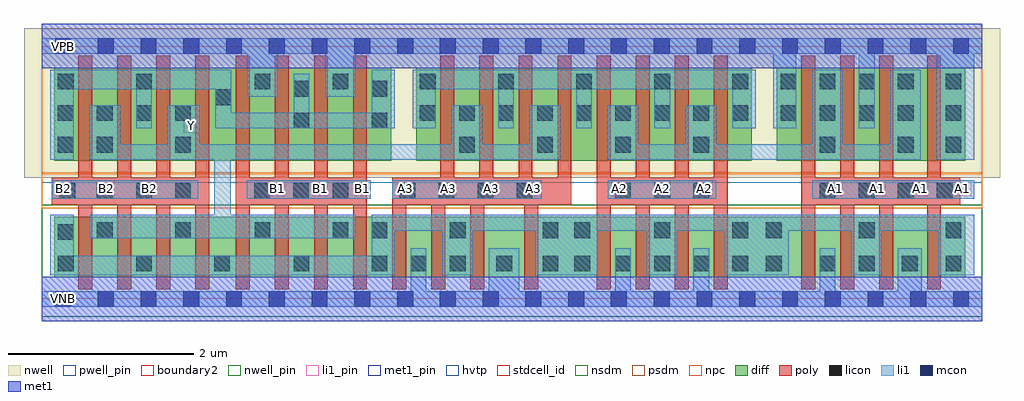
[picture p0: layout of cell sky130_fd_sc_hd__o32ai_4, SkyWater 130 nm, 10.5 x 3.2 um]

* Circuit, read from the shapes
.subckt sky130_fd_sc_hd__o32ai_4 A1 A2 A3 B1 B2 VGND VNB VPB VPWR Y
XM1 Y B2 n1 VNB sky130_fd_pr__nfet_01v8 w=0.65 l=0.15 m=4
XM2 Y B1 n1 VNB sky130_fd_pr__nfet_01v8 w=0.65 l=0.15 m=4
XM3 VGND A3 n1 VNB sky130_fd_pr__nfet_01v8 w=0.65 l=0.15 m=4
XM4 VGND A2 n1 VNB sky130_fd_pr__nfet_01v8 w=0.65 l=0.15 m=4
XM5 VGND A1 n1 VNB sky130_fd_pr__nfet_01v8 w=0.65 l=0.15 m=4
XM6 Y B2 n2 VPB sky130_fd_pr__pfet_01v8_hvt w=1 l=0.15 m=4
XM7 VPWR B1 n2 VPB sky130_fd_pr__pfet_01v8_hvt w=1 l=0.15 m=4
XM8 Y A3 n3 VPB sky130_fd_pr__pfet_01v8_hvt w=1 l=0.15 m=4
XM9 n4 A2 n3 VPB sky130_fd_pr__pfet_01v8_hvt w=1 l=0.15 m=4
XM10 n4 A1 VPWR VPB sky130_fd_pr__pfet_01v8_hvt w=1 l=0.15 m=4
.ends

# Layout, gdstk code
import gdstk
lib = gdstk.Library(unit=1e-6, precision=1e-09)
def R(c, l, rs):  # rectangles x0, y0, x1, y1
    for r in rs: c.add(gdstk.rectangle(r[:2], r[2:], *l))
def A(c, l, x, y, w, h, nx, ny, dx, dy):  # array of equal rectangles
    R(c, l, [(x+i*dx, y+j*dy, x+i*dx+w, y+j*dy+h) for i in range(nx) for j in range(ny)])
def P(c, l, *ps):  # polygons
    for p in ps: c.add(gdstk.Polygon(p, *l))
nwell_pin = (64, 16)
nwell = (64, 20)
diff = (65, 20)
poly = (66, 20)
licon = (66, 44)
li1_pin = (67, 16)
li1 = (67, 20)
mcon = (67, 44)
met1_pin = (68, 16)
met1 = (68, 20)
hvtp = (78, 44)
stdcell_id = (81, 4)
nsdm = (93, 44)
psdm = (94, 20)
npc = (95, 20)
pwell_pin = (122, 16)
boundary2 = (236, 0)

sky130_fd_sc_hd__o32ai_4 = lib.new_cell('sky130_fd_sc_hd__o32ai_4')
R(sky130_fd_sc_hd__o32ai_4, nwell_pin, [(0.15,2.635,0.32,2.805)])
R(sky130_fd_sc_hd__o32ai_4, nwell, [(-0.19,1.305,10.31,2.91)])
R(sky130_fd_sc_hd__o32ai_4, diff, [(0.135,0.235,9.935,0.885), (0.135,1.485,3.76,2.485), (4.03,1.485,7.64,2.485), (7.91,1.485,9.935,2.485)])
P(sky130_fd_sc_hd__o32ai_4, poly, [(1.805,2.615),(1.655,2.615),(1.655,1.305),(1.385,1.305),(1.385,2.615),(1.235,2.615),(1.235,1.305),(0.965,1.305),(0.965,2.615),(0.815,2.615),(0.815,1.305),(0.545,1.305),(0.545,2.615),(0.395,2.615),(0.395,1.305),(0.11,1.305),(0.11,1.015),(0.395,1.015),(0.395,0.105),(0.545,0.105),(0.545,1.015),(0.815,1.015),(0.815,0.105),(0.965,0.105),(0.965,1.015),(1.235,1.015),(1.235,0.105),(1.385,0.105),(1.385,1.015),(1.655,1.015),(1.655,0.105),(1.805,0.105)],
  [(3.5,2.615),(3.35,2.615),(3.35,1.305),(3.08,1.305),(3.08,2.615),(2.93,2.615),(2.93,1.305),(2.66,1.305),(2.66,2.615),(2.51,2.615),(2.51,1.305),(2.24,1.305),(2.24,2.615),(2.09,2.615),(2.09,0.105),(2.24,0.105),(2.24,1.015),(2.51,1.015),(2.51,0.105),(2.66,0.105),(2.66,1.015),(2.93,1.015),(2.93,0.105),(3.08,0.105),(3.08,1.015),(3.35,1.015),(3.35,0.105),(3.5,0.105)],
  [(5.7,2.615),(5.55,2.615),(5.55,1.305),(5.28,1.305),(5.28,2.615),(5.13,2.615),(5.13,1.305),(4.86,1.305),(4.86,2.615),(4.71,2.615),(4.71,1.305),(4.44,1.305),(4.44,2.615),(4.29,2.615),(4.29,1.305),(3.77,1.305),(3.77,0.105),(3.92,0.105),(3.92,1.015),(4.19,1.015),(4.19,0.105),(4.34,0.105),(4.34,1.015),(4.61,1.015),(4.61,0.105),(4.76,0.105),(4.76,1.015),(5.19,1.015),(5.19,0.105),(5.34,0.105),(5.34,1.015),(5.7,1.015)],
  [(7.38,2.615),(7.23,2.615),(7.23,1.305),(6.96,1.305),(6.96,2.615),(6.81,2.615),(6.81,1.305),(6.54,1.305),(6.54,2.615),(6.39,2.615),(6.39,1.305),(6.12,1.305),(6.12,2.615),(5.97,2.615),(5.97,0.105),(6.12,0.105),(6.12,1.015),(6.39,1.015),(6.39,0.105),(6.54,0.105),(6.54,1.015),(6.81,1.015),(6.81,0.105),(6.96,0.105),(6.96,1.015),(7.23,1.015),(7.23,0.105),(7.38,0.105)],
  [(9.88,1.305),(9.675,1.305),(9.675,2.615),(9.525,2.615),(9.525,1.305),(9.16,1.305),(9.16,2.615),(9.01,2.615),(9.01,1.305),(8.74,1.305),(8.74,2.615),(8.59,2.615),(8.59,1.305),(8.32,1.305),(8.32,2.615),(8.17,2.615),(8.17,0.105),(8.32,0.105),(8.32,1.015),(8.59,1.015),(8.59,0.105),(8.74,0.105),(8.74,1.015),(9.01,1.015),(9.01,0.105),(9.16,0.105),(9.16,1.015),(9.525,1.015),(9.525,0.105),(9.675,0.105),(9.675,1.015),(9.88,1.015)])
A(sky130_fd_sc_hd__o32ai_4, licon, 0.175, 0.295, 0.17, 0.17, 3, 1, 0.84, 0)
A(sky130_fd_sc_hd__o32ai_4, licon, 3.55, 0.295, 0.17, 0.17, 3, 1, 0.42, 0)
A(sky130_fd_sc_hd__o32ai_4, licon, 6.17, 0.295, 0.17, 0.17, 4, 1, 0.42, 0)
A(sky130_fd_sc_hd__o32ai_4, licon, 0.595, 1.075, 0.17, 0.17, 3, 1, 0.42, 0)
A(sky130_fd_sc_hd__o32ai_4, licon, 3.85, 1.075, 0.17, 0.17, 4, 1, 0.42, 0)
A(sky130_fd_sc_hd__o32ai_4, licon, 6.17, 1.075, 0.17, 0.17, 3, 1, 0.42, 0)
A(sky130_fd_sc_hd__o32ai_4, licon, 8.37, 1.075, 0.17, 0.17, 4, 1, 0.42, 0)
A(sky130_fd_sc_hd__o32ai_4, licon, 4.49, 1.575, 0.17, 0.17, 4, 1, 0.84, 0)
A(sky130_fd_sc_hd__o32ai_4, licon, 9.725, 1.575, 0.17, 0.17, 1, 3, 0, 0.34)
A(sky130_fd_sc_hd__o32ai_4, licon, 0.175, 1.915, 0.17, 0.17, 4, 1, 0.42, 0)
A(sky130_fd_sc_hd__o32ai_4, licon, 4.07, 1.915, 0.17, 0.17, 9, 1, 0.42, 0)
A(sky130_fd_sc_hd__o32ai_4, licon, 7.95, 1.915, 0.17, 0.17, 4, 2, 0.42, 0.34)
A(sky130_fd_sc_hd__o32ai_4, licon, 4.07, 2.255, 0.17, 0.17, 5, 1, 0.84, 0)
R(sky130_fd_sc_hd__o32ai_4, licon, [(2.71,0.295,2.88,0.465), (4.89,0.295,5.06,0.465), (5.39,0.295,5.56,0.465), (5.73,0.295,5.9,0.465), (7.79,0.295,7.96,0.465), (8.37,0.295,8.54,0.465), (8.79,0.295,8.96,0.465), (9.255,0.295,9.425,0.465), (9.725,0.295,9.895,0.465), (0.175,0.635,0.345,0.805), (0.595,0.655,0.765,0.825), (1.435,0.655,1.605,0.825), (2.29,0.655,2.46,0.825), (3.13,0.655,3.3,0.825), (3.55,0.655,3.72,0.825), (4.39,0.655,4.56,0.825), (5.39,0.655,5.56,0.825), (5.73,0.655,5.9,0.825), (6.59,0.655,6.76,0.825), (7.43,0.655,7.6,0.825), (7.79,0.655,7.96,0.825), (8.79,0.655,8.96,0.825), (9.725,0.655,9.895,0.825), (0.19,1.075,0.36,1.245), (2.285,1.075,2.455,1.245), (2.705,1.075,2.875,1.245), (3.13,1.075,3.3,1.245), (0.175,1.575,0.345,1.745), (0.595,1.575,0.765,1.745), (1.435,1.575,1.605,1.745), (8.37,1.575,8.54,1.745), (9.21,1.575,9.38,1.745), (2.71,1.835,2.88,2.005), (3.55,1.835,3.72,2.005), (1.87,2.085,2.04,2.255), (2.71,2.175,2.88,2.345), (3.55,2.175,3.72,2.345), (0.175,2.255,0.345,2.425), (1.015,2.255,1.185,2.425), (2.29,2.255,2.46,2.425), (3.13,2.255,3.3,2.425)])
A(sky130_fd_sc_hd__o32ai_4, li1_pin, 0.15, 1.105, 0.17, 0.17, 3, 1, 0.46, 0)
A(sky130_fd_sc_hd__o32ai_4, li1_pin, 2.45, 1.105, 0.17, 0.17, 7, 1, 0.46, 0)
A(sky130_fd_sc_hd__o32ai_4, li1_pin, 6.13, 1.105, 0.17, 0.17, 3, 1, 0.46, 0)
A(sky130_fd_sc_hd__o32ai_4, li1_pin, 8.45, 1.105, 0.17, 0.17, 4, 1, 0.46, 0)
R(sky130_fd_sc_hd__o32ai_4, li1_pin, [(1.53,1.785,1.7,1.955)])
R(sky130_fd_sc_hd__o32ai_4, li1, [(0.11,1.075,1.685,1.275), (2.205,1.075,3.54,1.275), (3.77,1.075,5.38,1.275), (6.09,1.075,7.26,1.275), (8.29,1.075,10.035,1.275)])
P(sky130_fd_sc_hd__o32ai_4, li1, [(10.12,0.085),(9.47,0.085),(9.47,0.545),(9.21,0.545),(9.21,0.085),(8.54,0.085),(8.54,0.545),(8.37,0.545),(8.37,0.085),(7.18,0.085),(7.18,0.545),(7.01,0.545),(7.01,0.085),(6.34,0.085),(6.34,0.545),(6.17,0.545),(6.17,0.085),(5.14,0.085),(5.14,0.545),(4.81,0.545),(4.81,0.085),(4.14,0.085),(4.14,0.545),(3.97,0.545),(3.97,0.085),(0,0.085),(0,-0.085),(10.12,-0.085)],
  [(10.12,2.805),(0,2.805),(0,2.635),(2.21,2.635),(2.21,2.175),(2.54,2.175),(2.54,2.635),(3.05,2.635),(3.05,2.175),(3.38,2.175),(3.38,2.635),(7.87,2.635),(7.87,1.835),(8.12,1.835),(8.12,2.635),(8.79,2.635),(8.79,1.835),(8.96,1.835),(8.96,2.635),(9.63,2.635),(9.63,1.495),(10.035,1.495),(10.035,2.635),(10.12,2.635)],
  [(7.68,2.465),(3.99,2.465),(3.99,1.835),(4.24,1.835),(4.24,2.255),(4.91,2.255),(4.91,1.835),(5.08,1.835),(5.08,2.255),(5.75,2.255),(5.75,1.835),(5.92,1.835),(5.92,2.255),(6.59,2.255),(6.59,1.835),(6.76,1.835),(6.76,2.255),(7.43,2.255),(7.43,1.835),(7.68,1.835)],
  [(3.8,2.465),(3.55,2.465),(3.55,2.005),(2.88,2.005),(2.88,2.425),(2.71,2.425),(2.71,2.005),(2.04,2.005),(2.04,2.465),(0.09,2.465),(0.09,1.495),(0.345,1.495),(0.345,2.255),(1.015,2.255),(1.015,1.835),(1.185,1.835),(1.185,2.255),(1.87,2.255),(1.87,1.835),(3.8,1.835)],
  [(5.58,2.085),(5.25,2.085),(5.25,1.665),(4.74,1.665),(4.74,2.085),(4.41,2.085),(4.41,1.665),(1.7,1.665),(1.7,2.085),(1.355,2.085),(1.355,1.665),(0.845,1.665),(0.845,2.085),(0.515,2.085),(0.515,1.495),(1.855,1.495),(1.855,0.905),(0.515,0.905),(0.515,0.655),(3.38,0.655),(3.38,0.905),(2.035,0.905),(2.035,1.495),(5.58,1.495)],
  [(9.46,2.465),(9.13,2.465),(9.13,1.665),(8.62,1.665),(8.62,2.465),(8.29,2.465),(8.29,1.665),(7.26,1.665),(7.26,2.085),(6.93,2.085),(6.93,1.665),(6.42,1.665),(6.42,2.085),(6.09,2.085),(6.09,1.495),(9.46,1.495)],
  [(10.035,0.905),(3.55,0.905),(3.55,0.465),(0.345,0.465),(0.345,0.905),(0.09,0.905),(0.09,0.255),(3.8,0.255),(3.8,0.735),(4.31,0.735),(4.31,0.255),(4.64,0.255),(4.64,0.735),(5.31,0.735),(5.31,0.255),(5.98,0.255),(5.98,0.735),(6.51,0.735),(6.51,0.255),(6.84,0.255),(6.84,0.735),(7.35,0.735),(7.35,0.255),(8.04,0.255),(8.04,0.735),(8.71,0.735),(8.71,0.255),(9.04,0.255),(9.04,0.735),(9.645,0.735),(9.645,0.255),(10.035,0.255)])
A(sky130_fd_sc_hd__o32ai_4, mcon, 0.145, -0.085, 0.17, 0.17, 22, 2, 0.46, 2.72)
R(sky130_fd_sc_hd__o32ai_4, met1_pin, [(0.15,-0.085,0.32,0.085), (0.15,2.635,0.32,2.805)])
R(sky130_fd_sc_hd__o32ai_4, hvtp, [(0,1.25,10.12,2.72)])
R(sky130_fd_sc_hd__o32ai_4, stdcell_id, [(0,0,10.12,2.72)])
R(sky130_fd_sc_hd__o32ai_4, nsdm, [(0,-0.19,10.12,1.015)])
R(sky130_fd_sc_hd__o32ai_4, psdm, [(0,1.355,10.12,2.91)])
R(sky130_fd_sc_hd__o32ai_4, npc, [(0,0.975,10.12,1.345)])
R(sky130_fd_sc_hd__o32ai_4, pwell_pin, [(0.15,-0.085,0.32,0.085)])
R(sky130_fd_sc_hd__o32ai_4, boundary2, [(0,0,10.12,2.72)])
sky130_fd_sc_hd__o32ai_4.add(gdstk.FlexPath([(0,2.72),(10.12,2.72)], 0.48, ends="flush", simple_path=True, layer=68, datatype=20))  # met1
sky130_fd_sc_hd__o32ai_4.add(gdstk.FlexPath([(0,0),(10.12,0)], 0.48, ends="flush", simple_path=True, layer=68, datatype=20))  # met1
sky130_fd_sc_hd__o32ai_4.add(gdstk.Label('A1', (8.535,1.19), layer=67, texttype=5))
sky130_fd_sc_hd__o32ai_4.add(gdstk.Label('A1', (8.995,1.19), layer=67, texttype=5))
sky130_fd_sc_hd__o32ai_4.add(gdstk.Label('A1', (9.455,1.19), layer=67, texttype=5))
sky130_fd_sc_hd__o32ai_4.add(gdstk.Label('A1', (9.91,1.19), layer=67, texttype=5))
sky130_fd_sc_hd__o32ai_4.add(gdstk.Label('A2', (7.135,1.19), layer=67, texttype=5))
sky130_fd_sc_hd__o32ai_4.add(gdstk.Label('A2', (6.675,1.19), layer=67, texttype=5))
sky130_fd_sc_hd__o32ai_4.add(gdstk.Label('A2', (6.215,1.19), layer=67, texttype=5))
sky130_fd_sc_hd__o32ai_4.add(gdstk.Label('A3', (5.295,1.19), layer=67, texttype=5))
sky130_fd_sc_hd__o32ai_4.add(gdstk.Label('A3', (4.835,1.19), layer=67, texttype=5))
sky130_fd_sc_hd__o32ai_4.add(gdstk.Label('A3', (4.375,1.19), layer=67, texttype=5))
sky130_fd_sc_hd__o32ai_4.add(gdstk.Label('A3', (3.915,1.19), layer=67, texttype=5))
sky130_fd_sc_hd__o32ai_4.add(gdstk.Label('B1', (2.535,1.19), layer=67, texttype=5))
sky130_fd_sc_hd__o32ai_4.add(gdstk.Label('B1', (2.995,1.19), layer=67, texttype=5))
sky130_fd_sc_hd__o32ai_4.add(gdstk.Label('B1', (3.455,1.19), layer=67, texttype=5))
sky130_fd_sc_hd__o32ai_4.add(gdstk.Label('Y', (1.615,1.87), layer=67, texttype=5))
sky130_fd_sc_hd__o32ai_4.add(gdstk.Label('B2', (1.155,1.19), layer=67, texttype=5))
sky130_fd_sc_hd__o32ai_4.add(gdstk.Label('B2', (0.695,1.19), layer=67, texttype=5))
sky130_fd_sc_hd__o32ai_4.add(gdstk.Label('B2', (0.235,1.19), layer=67, texttype=5))
sky130_fd_sc_hd__o32ai_4.add(gdstk.Label('VNB', (0.235,0), layer=64, texttype=59))
sky130_fd_sc_hd__o32ai_4.add(gdstk.Label('VPB', (0.235,2.72), layer=64, texttype=5))
sky130_fd_sc_hd__o32ai_4.add(gdstk.Label('VGND', (0.23,0), layer=68, texttype=5))
sky130_fd_sc_hd__o32ai_4.add(gdstk.Label('VPWR', (0.235,2.72), layer=68, texttype=5))
sky130_fd_sc_hd__o32ai_4.add(gdstk.Label('o32ai_4', (0,0), layer=83, texttype=44))

lib.write_gds('sky130_fd_sc_hd__o32ai_4.gds')
